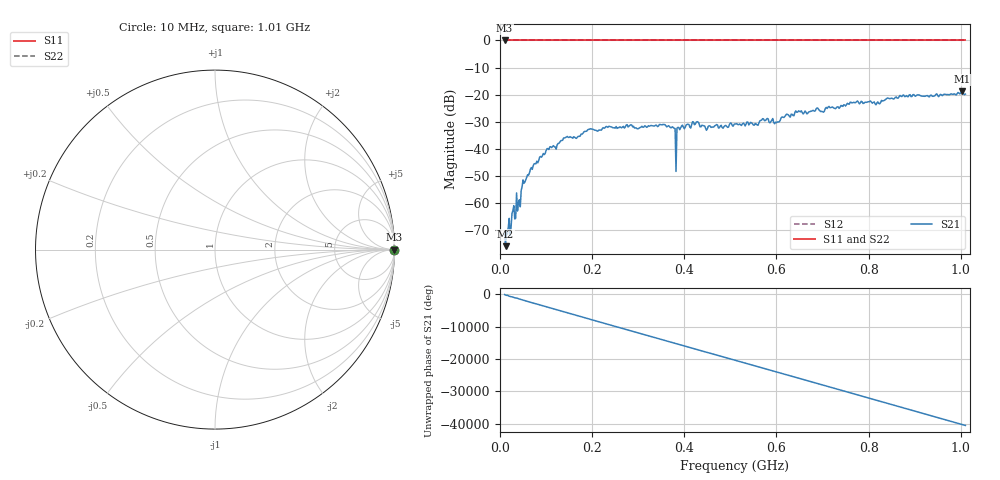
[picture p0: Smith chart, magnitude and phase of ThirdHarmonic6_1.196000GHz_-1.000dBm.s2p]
! 8/16/2025 12:20:44 PM
! C:\ANRITSUVNA\TEMP\TEMP.S2P
! CHANNEL.1
! TR.MEASUREMENT
! RAW.DATA
! RF.CORRECTION.OFF
! AVERAGING.OFF
! IF.BANDWIDTH: 5KHZ
! SWEEPTYPE:  FREQ.SWEEP(Linear)
! Reference Plane Port Info
! PORT:  PORT1  PORT2
! DISTANCE:  0  m  0  m
! TIME:  0  s  0  s
! PHASE.OFFSET:  0  deg.  0  deg.
! LOSS:  0  dB  0  dB
! REF.LOSS:  0  dB  0  dB
! REF.FREQ:  0  Hz  0  Hz
! Power Info
! POWER:  -20  dBm  -20  dBm
! EFF.POWER:  -20  dBm  -20  dBm
! SOURCE.ATTEN:  0  dB  0  dB
! TEST.ATTEN:  0  dB  0  dB
# GHZ S RI R 50.0
! FREQ.GHZ  S11RE  S11IM  S21RE  S21IM  S12RE  S12IM  S22RE  S22IM
!; PortSelection: Port_12
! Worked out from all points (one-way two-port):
!   501 points, 10 MHz to 1.01 GHz, reference 50 ohm
!   highest |S21| = -18.74 dB at 1.002 GHz (marker M1); lowest = -75.9 dB at 12 MHz (marker M2)
!   lowest |S11| = 0.0 dB at 10 MHz (marker M3)
!   |S11| at or under -10 dB: nowhere
!   |S22| runs from 0.0 to 0.0 dB; largest |S21 - S12| = 1.1
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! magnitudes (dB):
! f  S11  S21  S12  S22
! 10 MHz  0.0  -70.5  0.0  0.0
! 12 MHz  0.0  -75.9  0.0  0.0
! 42 MHz  0.0  -58.8  0.0  0.0
! 50 MHz  0.0  -51.4  0.0  0.0
! 70 MHz  0.0  -47.5  0.0  0.0
! 106 MHz  0.0  -40.2  0.0  0.0
! 178 MHz  0.0  -34.5  0.0  0.0
! 234 MHz  0.0  -32.1  0.0  0.0
! 344 MHz  0.0  -31.6  0.0  0.0
! 376 MHz  0.0  -32.1  0.0  0.0
! 378 MHz  0.0  -32.4  0.0  0.0
! 386 MHz  0.0  -32.1  0.0  0.0
! 388 MHz  0.0  -32.1  0.0  0.0
! 422 MHz  0.0  -31.1  0.0  0.0
! 448 MHz  0.0  -33.1  0.0  0.0
! 510 MHz  0.0  -30.7  0.0  0.0
! 600 MHz  0.0  -30.3  0.0  0.0
! 644 MHz  0.0  -26.5  0.0  0.0
! 678 MHz  0.0  -25.9  0.0  0.0
! 844 MHz  0.0  -21.4  0.0  0.0
! 1.002 GHz  0.0  -18.7  0.0  0.0
! 1.01 GHz  0.0  -19.8  0.0  0.0
